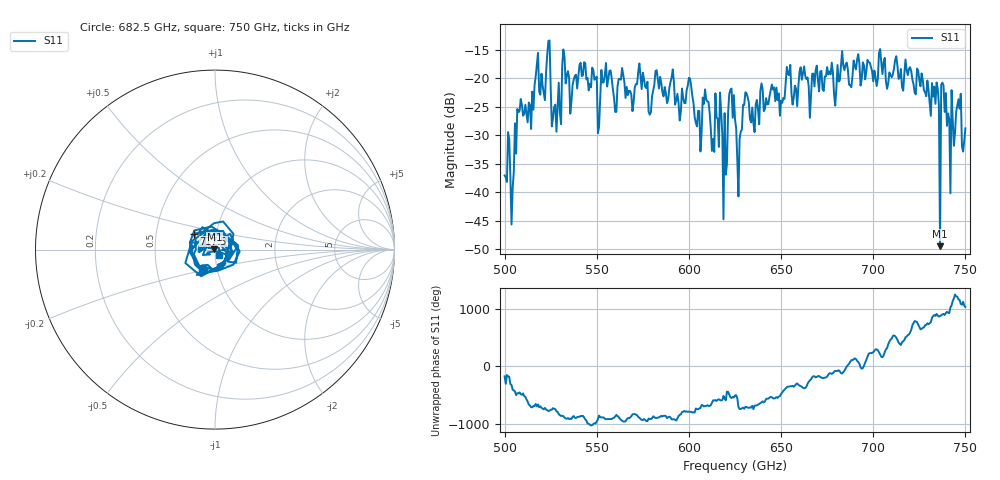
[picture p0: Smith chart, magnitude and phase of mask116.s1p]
!Created with skrf (http://scikit-rf.org).
# GHz S MA R 50.0
!freq magS11 angS11
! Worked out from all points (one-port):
!   401 points, 500 GHz to 750 GHz, reference 50 ohm
!   lowest |S11| = -49.4 dB at 736.2 GHz (marker M1), VSWR 1.01, Z = 49.7 + j0.154 ohm
!   |S11| at or under -10 dB: start of sweep to end of sweep
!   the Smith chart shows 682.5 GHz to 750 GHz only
!   S11 on the Smith chart (normalised r, x): 682.5 GHz: 0.86, -0.19; 717.5 GHz: 0.78, +0.14; 750 GHz: 1.05, -0.06
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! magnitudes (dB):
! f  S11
! 500 GHz  -37.0
! 504.4 GHz  -39.2
! 508.1 GHz  -25.7
! 513.1 GHz  -24.2
! 517.5 GHz  -17.6
! 523.8 GHz  -13.4
! 526.9 GHz  -25.0
! 531.2 GHz  -17.7
! 562.5 GHz  -20.1
! 593.8 GHz  -22.7
! 600.6 GHz  -20.0
! 605.6 GHz  -25.7
! 609.4 GHz  -23.7
! 619.4 GHz  -26.1
! 622.5 GHz  -22.0
! 625 GHz  -27.1
! 627.5 GHz  -30.6
! 630.6 GHz  -22.4
! 656.2 GHz  -24.6
! 682.5 GHz  -17.9
! 687.5 GHz  -21.2
! 717.5 GHz  -16.7
! 718.8 GHz  -19.4
! 736.2 GHz  -49.4
! 738.1 GHz  -21.2
! 740.6 GHz  -26.1
! 746.2 GHz  -23.6
! 750 GHz  -28.8
